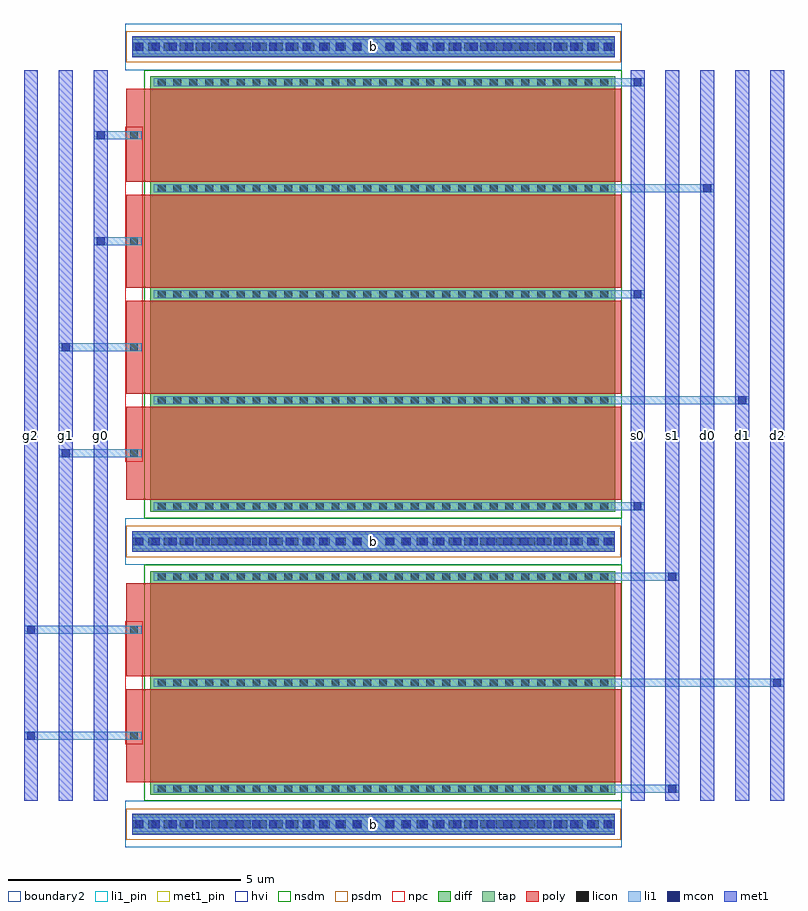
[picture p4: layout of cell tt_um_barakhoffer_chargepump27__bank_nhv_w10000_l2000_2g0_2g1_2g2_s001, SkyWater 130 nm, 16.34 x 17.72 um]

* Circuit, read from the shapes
.subckt tt_um_barakhoffer_chargepump27__bank_nhv_w10000_l2000_2g0_2g1_2g2_s001 b d0 d1 d2 g0 g1 g2 s0 s1
XM1 d2 g2 s1 b sky130_fd_pr__nfet_g5v0d10v5 w=10 l=2 m=2
XM2 d1 g1 s0 b sky130_fd_pr__nfet_g5v0d10v5 w=10 l=2 m=2
XM3 d0 g0 s0 b sky130_fd_pr__nfet_g5v0d10v5 w=10 l=2 m=2
.ends

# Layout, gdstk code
import gdstk
lib = gdstk.Library(unit=1e-6, precision=1e-09)
def R(c, l, rs):  # rectangles x0, y0, x1, y1
    for r in rs: c.add(gdstk.rectangle(r[:2], r[2:], *l))
def A(c, l, x, y, w, h, nx, ny, dx, dy):  # array of equal rectangles
    R(c, l, [(x+i*dx, y+j*dy, x+i*dx+w, y+j*dy+h) for i in range(nx) for j in range(ny)])
diff = (65, 20)
tap = (65, 44)
poly = (66, 20)
licon = (66, 44)
li1_pin = (67, 16)
li1 = (67, 20)
mcon = (67, 44)
met1_pin = (68, 16)
met1 = (68, 20)
hvi = (75, 20)
nsdm = (93, 44)
psdm = (94, 20)
npc = (95, 20)
boundary2 = (236, 0)

tt_um_barakhoffer_charge = lib.new_cell('tt_um_barakhoffer_chargepump27__mos_15')
A(tt_um_barakhoffer_charge, diff, 0.095, 0, 9.81, 0.25, 1, 3, 0, 2.28)
R(tt_um_barakhoffer_charge, diff, [(0,0,10,4.81)])
R(tt_um_barakhoffer_charge, poly, [(-0.52,0.265,-0.19,2.265), (-0.19,0.265,10.13,2.265), (-0.52,1.13,-0.19,1.4), (-0.52,2.545,-0.19,4.545), (-0.19,2.545,10.13,4.545), (-0.52,3.41,-0.19,3.68)])
A(tt_um_barakhoffer_charge, licon, 0.155, 0.04, 0.17, 0.17, 29, 3, 0.34, 2.28)
R(tt_um_barakhoffer_charge, licon, [(-0.44,1.18,-0.27,1.35), (-0.44,3.46,-0.27,3.63)])
A(tt_um_barakhoffer_charge, li1_pin, 0.075, 0.04, 9.85, 0.17, 1, 3, 0, 2.28)
R(tt_um_barakhoffer_charge, li1_pin, [(-0.52,1.18,-0.19,1.35), (-0.52,3.46,-0.19,3.63)])
R(tt_um_barakhoffer_charge, li1, [(0.075,0.04,9.925,0.21), (0.075,0.04,9.925,0.21), (-0.52,1.18,-0.19,1.35), (-0.52,1.18,-0.19,1.35), (0.075,2.32,9.925,2.49), (0.075,2.32,9.925,2.49), (-0.52,3.46,-0.19,3.63), (-0.52,3.46,-0.19,3.63), (0.075,4.6,9.925,4.77), (0.075,4.6,9.925,4.77)])
R(tt_um_barakhoffer_charge, hvi, [(-0.135,-0.135,10.135,4.945)])
R(tt_um_barakhoffer_charge, nsdm, [(-0.135,-0.135,10.135,4.945)])
R(tt_um_barakhoffer_charge, npc, [(-0.54,1.08,-0.17,1.45), (-0.54,1.08,-0.17,3.73), (-0.54,3.36,-0.17,3.73)])
tt_um_barakhoffer_charge.add(gdstk.Label('sd_0_0', (5,0.125), layer=67, texttype=5))
tt_um_barakhoffer_charge.add(gdstk.Label('gate_0', (-0.355,1.265), layer=67, texttype=5))
tt_um_barakhoffer_charge.add(gdstk.Label('sd_0_2', (5,4.685), layer=67, texttype=5))
tt_um_barakhoffer_charge.add(gdstk.Label('gate_1', (-0.355,3.545), layer=67, texttype=5))
tt_um_barakhoffer_charge.add(gdstk.Label('sd_0_1', (5,2.405), layer=67, texttype=5))

c_tt_um_barakhoffer_charge = lib.new_cell('tt_um_barakhoffer_chargepump27__mos_16')
A(c_tt_um_barakhoffer_charge, diff, 0.095, 0, 9.81, 0.25, 1, 5, 0, 2.28)
R(c_tt_um_barakhoffer_charge, diff, [(0,0,10,9.37)])
A(c_tt_um_barakhoffer_charge, poly, -0.52, 0.265, 0.33, 2, 1, 4, 0, 2.28)
A(c_tt_um_barakhoffer_charge, poly, -0.19, 0.265, 10.32, 2, 1, 4, 0, 2.28)
A(c_tt_um_barakhoffer_charge, poly, -0.52, 1.13, 0.33, 0.27, 1, 4, 0, 2.28)
A(c_tt_um_barakhoffer_charge, licon, 0.155, 0.04, 0.17, 0.17, 29, 5, 0.34, 2.28)
A(c_tt_um_barakhoffer_charge, licon, -0.44, 1.18, 0.17, 0.17, 1, 4, 0, 2.28)
A(c_tt_um_barakhoffer_charge, li1_pin, 0.075, 0.04, 9.85, 0.17, 1, 5, 0, 2.28)
A(c_tt_um_barakhoffer_charge, li1_pin, -0.52, 1.18, 0.33, 0.17, 1, 4, 0, 2.28)
R(c_tt_um_barakhoffer_charge, li1, [(0.075,0.04,9.925,0.21), (0.075,0.04,9.925,0.21), (-0.52,1.18,-0.19,1.35), (-0.52,1.18,-0.19,1.35), (0.075,2.32,9.925,2.49), (0.075,2.32,9.925,2.49), (-0.52,3.46,-0.19,3.63), (-0.52,3.46,-0.19,3.63), (0.075,4.6,9.925,4.77), (0.075,4.6,9.925,4.77), (-0.52,5.74,-0.19,5.91), (-0.52,5.74,-0.19,5.91), (0.075,6.88,9.925,7.05), (0.075,6.88,9.925,7.05), (-0.52,8.02,-0.19,8.19), (-0.52,8.02,-0.19,8.19), (0.075,9.16,9.925,9.33), (0.075,9.16,9.925,9.33)])
R(c_tt_um_barakhoffer_charge, hvi, [(-0.135,-0.135,10.135,9.505)])
R(c_tt_um_barakhoffer_charge, nsdm, [(-0.135,-0.135,10.135,9.505)])
A(c_tt_um_barakhoffer_charge, npc, -0.54, 1.08, 0.37, 0.37, 1, 4, 0, 2.28)
R(c_tt_um_barakhoffer_charge, npc, [(-0.54,1.08,-0.17,8.29)])
c_tt_um_barakhoffer_charge.add(gdstk.Label('gate_1', (-0.355,3.545), layer=67, texttype=5))
c_tt_um_barakhoffer_charge.add(gdstk.Label('gate_2', (-0.355,5.825), layer=67, texttype=5))
c_tt_um_barakhoffer_charge.add(gdstk.Label('gate_0', (-0.355,1.265), layer=67, texttype=5))
c_tt_um_barakhoffer_charge.add(gdstk.Label('sd_0_0', (5,0.125), layer=67, texttype=5))
c_tt_um_barakhoffer_charge.add(gdstk.Label('gate_3', (-0.355,8.105), layer=67, texttype=5))
c_tt_um_barakhoffer_charge.add(gdstk.Label('sd_0_3', (5,6.965), layer=67, texttype=5))
c_tt_um_barakhoffer_charge.add(gdstk.Label('sd_0_1', (5,2.405), layer=67, texttype=5))
c_tt_um_barakhoffer_charge.add(gdstk.Label('sd_0_2', (5,4.685), layer=67, texttype=5))
c_tt_um_barakhoffer_charge.add(gdstk.Label('sd_0_4', (5,9.245), layer=67, texttype=5))

c_tt_um_barakhoffer_charge_ = lib.new_cell('tt_um_barakhoffer_chargepump27__bank_nhv_w10000_l2000_2g0_2g1_2g2_s001')
R(c_tt_um_barakhoffer_charge_, tap, [(0.15,0.295,10.52,0.705), (0.15,6.375,10.52,6.785), (0.15,17.015,10.52,17.425)])
A(c_tt_um_barakhoffer_charge_, licon, 0.15, 0.415, 0.17, 0.17, 31, 2, 0.34, 6.08)
A(c_tt_um_barakhoffer_charge_, licon, 0.15, 17.135, 0.17, 0.17, 31, 1, 0.34, 0)
A(c_tt_um_barakhoffer_charge_, li1, 0.615, 7.255, 10.55, 0.17, 1, 3, 0, 4.56)
A(c_tt_um_barakhoffer_charge_, li1, 10.93, 7.255, 0.17, 0.17, 1, 3, 0, 4.56)
R(c_tt_um_barakhoffer_charge_, li1, [(0.15,0.335,10.52,0.665), (0.21,0.415,10.46,0.585), (0.615,1.175,11.915,1.345), (11.68,1.175,11.85,1.345), (-2.18,2.315,0.35,2.485), (-2.115,2.315,-1.945,2.485), (0.615,3.455,14.165,3.625), (13.93,3.455,14.1,3.625), (-2.18,4.595,0.35,4.765), (-2.115,4.595,-1.945,4.765), (0.615,5.735,11.915,5.905), (11.68,5.735,11.85,5.905), (0.15,6.415,10.52,6.745), (0.21,6.495,10.46,6.665), (-1.43,8.395,0.35,8.565), (-1.365,8.395,-1.195,8.565), (0.615,9.535,13.415,9.705), (13.18,9.535,13.35,9.705), (-1.43,10.675,0.35,10.845), (-1.365,10.675,-1.195,10.845), (-0.68,12.955,0.35,13.125), (-0.615,12.955,-0.445,13.125), (0.615,14.095,12.665,14.265), (12.43,14.095,12.6,14.265), (-0.68,15.235,0.35,15.405), (-0.615,15.235,-0.445,15.405), (0.15,17.055,10.52,17.385), (0.21,17.135,10.46,17.305)])
A(c_tt_um_barakhoffer_charge_, mcon, 0.21, 0.415, 0.17, 0.17, 29, 2, 0.36, 6.08)
A(c_tt_um_barakhoffer_charge_, mcon, 10.93, 7.255, 0.17, 0.17, 1, 3, 0, 4.56)
A(c_tt_um_barakhoffer_charge_, mcon, 0.21, 17.135, 0.17, 0.17, 29, 1, 0.36, 0)
R(c_tt_um_barakhoffer_charge_, mcon, [(11.68,1.175,11.85,1.345), (-2.115,2.315,-1.945,2.485), (13.93,3.455,14.1,3.625), (-2.115,4.595,-1.945,4.765), (11.68,5.735,11.85,5.905), (-1.365,8.395,-1.195,8.565), (13.18,9.535,13.35,9.705), (-1.365,10.675,-1.195,10.845), (-0.615,12.955,-0.445,13.125), (12.43,14.095,12.6,14.265), (-0.615,15.235,-0.445,15.405)])
A(c_tt_um_barakhoffer_charge_, met1_pin, -2.18, 1, 0.3, 15.72, 3, 1, 0.75, 0)
A(c_tt_um_barakhoffer_charge_, met1_pin, 10.865, 1, 0.3, 15.72, 5, 1, 0.75, 0)
R(c_tt_um_barakhoffer_charge_, met1_pin, [(0.15,0.275,10.525,0.725), (0.15,6.355,10.525,6.805), (0.15,16.995,10.525,17.445)])
A(c_tt_um_barakhoffer_charge_, met1, 10.87, 7.225, 0.29, 0.23, 1, 3, 0, 4.56)
R(c_tt_um_barakhoffer_charge_, met1, [(0.15,0.275,10.525,0.725), (0.15,0.275,10.525,0.725), (0.15,0.385,10.52,0.615), (-2.18,1,-1.88,16.72), (-2.18,1,-1.88,16.72), (-1.43,1,-1.13,16.72), (-1.43,1,-1.13,16.72), (-0.68,1,-0.38,16.72), (-0.68,1,-0.38,16.72), (10.865,1,11.165,16.72), (10.865,1,11.165,16.72), (11.615,1,11.915,16.72), (11.615,1,11.915,16.72), (12.365,1,12.665,16.72), (12.365,1,12.665,16.72), (13.115,1,13.415,16.72), (13.115,1,13.415,16.72), (13.865,1,14.165,16.72), (13.865,1,14.165,16.72), (11.62,1.145,11.91,1.375), (-2.175,2.285,-1.885,2.515), (13.87,3.425,14.16,3.655), (-2.175,4.565,-1.885,4.795), (11.62,5.705,11.91,5.935), (0.15,6.355,10.525,6.805), (0.15,6.355,10.525,6.805), (0.15,6.465,10.52,6.695), (-1.425,8.365,-1.135,8.595), (13.12,9.505,13.41,9.735), (-1.425,10.645,-1.135,10.875), (-0.675,12.925,-0.385,13.155), (12.37,14.065,12.66,14.295), (-0.675,15.205,-0.385,15.435), (0.15,16.995,10.525,17.445), (0.15,16.995,10.525,17.445), (0.15,17.105,10.52,17.335)])
R(c_tt_um_barakhoffer_charge_, psdm, [(0.02,0.165,10.65,0.835), (0.02,6.245,10.65,6.915), (0.02,16.885,10.65,17.555)])
R(c_tt_um_barakhoffer_charge_, boundary2, [(0,0,10.675,1), (0,6.08,10.675,7.08), (0,16.72,10.675,17.72)])
c_tt_um_barakhoffer_charge_.add(gdstk.Reference(tt_um_barakhoffer_charge, (0.54,1.135)))
c_tt_um_barakhoffer_charge_.add(gdstk.Reference(c_tt_um_barakhoffer_charge, (0.54,7.215)))
c_tt_um_barakhoffer_charge_.add(gdstk.Label('g0', (-0.53,8.86), layer=68, texttype=5))
c_tt_um_barakhoffer_charge_.add(gdstk.Label('g1', (-1.28,8.86), layer=68, texttype=5))
c_tt_um_barakhoffer_charge_.add(gdstk.Label('g2', (-2.03,8.86), layer=68, texttype=5))
c_tt_um_barakhoffer_charge_.add(gdstk.Label('b', (5.337,0.5), layer=68, texttype=5))
c_tt_um_barakhoffer_charge_.add(gdstk.Label('b', (5.337,6.58), layer=68, texttype=5))
c_tt_um_barakhoffer_charge_.add(gdstk.Label('b', (5.337,17.22), layer=68, texttype=5))
c_tt_um_barakhoffer_charge_.add(gdstk.Label('s1', (11.765,8.86), layer=68, texttype=5))
c_tt_um_barakhoffer_charge_.add(gdstk.Label('s0', (11.015,8.86), layer=68, texttype=5))
c_tt_um_barakhoffer_charge_.add(gdstk.Label('d1', (13.265,8.86), layer=68, texttype=5))
c_tt_um_barakhoffer_charge_.add(gdstk.Label('d0', (12.515,8.86), layer=68, texttype=5))
c_tt_um_barakhoffer_charge_.add(gdstk.Label('d2', (14.015,8.86), layer=68, texttype=5))

lib.write_gds('tt_um_barakhoffer_chargepump27__bank_nhv_w10000_l2000_2g0_2g1_2g2_s001.gds')
